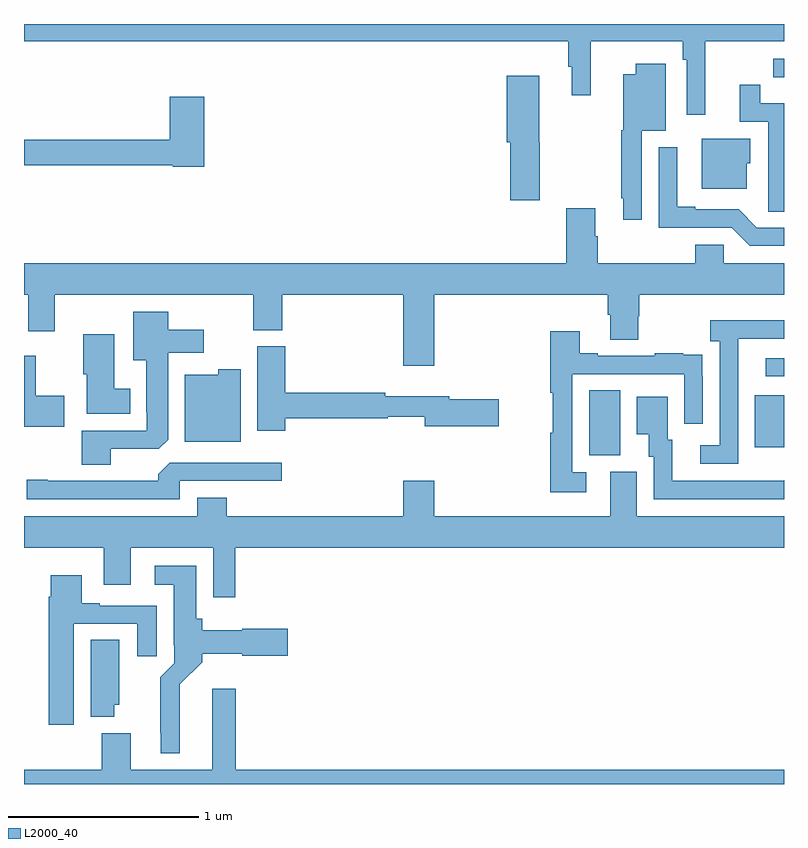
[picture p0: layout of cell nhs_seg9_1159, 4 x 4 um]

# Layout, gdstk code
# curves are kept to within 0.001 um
import gdstk
lib = gdstk.Library(unit=1e-6, precision=1e-09)
def R(c, l, rs):  # rectangles x0, y0, x1, y1
    for r in rs: c.add(gdstk.rectangle(r[:2], r[2:], *l))
def P(c, l, *ps):  # polygons
    for p in ps: c.add(gdstk.Polygon(p, *l))
L2000_40 = (2000, 40)

nhs_seg9_1159 = lib.new_cell('nhs_seg9_1159')
R(nhs_seg9_1159, L2000_40, [(177.974,1206.229,178.138,1206.572), (178.847,1206.273,179,1206.547), (178.905,1206.645,179,1206.741), (178.944,1208.22,179,1208.316)])
P(nhs_seg9_1159, L2000_40, [(178.586,1208.408),(179,1208.408),(179,1208.5),(175,1208.5),(175,1208.408),(177.865,1208.408),(177.865,1208.274),(177.884,1208.274),(177.884,1208.124),(177.984,1208.124),(177.984,1208.408),(178.468,1208.408),(178.468,1208.312),(178.488,1208.312),(178.488,1208.022),(178.586,1208.022)],
  [(178.251,1207.937),(178.378,1207.937),(178.378,1208.29),(178.22,1208.29),(178.22,1208.236),(178.154,1208.236),(178.154,1207.941),(178.143,1207.941),(178.143,1207.582),(178.154,1207.582),(178.154,1207.47),(178.251,1207.47)],
  [(177.714,1207.878),(177.712,1207.878),(177.712,1208.227),(177.542,1208.227),(177.542,1207.878),(177.56,1207.878),(177.56,1207.572),(177.714,1207.572)],
  [(179,1208.082),(178.874,1208.082),(178.874,1208.179),(178.766,1208.179),(178.766,1207.986),(178.916,1207.986),(178.916,1207.624),(178.917,1207.624),(178.917,1207.513),(179,1207.513)],
  [(175.949,1208.116),(175.766,1208.116),(175.766,1207.892),(175,1207.892),(175,1207.756),(175.782,1207.756),(175.782,1207.748),(175.949,1207.748)],
  [(178.804,1207.767),(178.822,1207.767),(178.822,1207.897),(178.568,1207.897),(178.568,1207.634),(178.804,1207.634)],
  [(179,1207.428),(178.857,1207.428),(178.761,1207.524),(178.534,1207.524),(178.534,1207.537),(178.438,1207.537),(178.438,1207.852),(178.341,1207.852),(178.341,1207.428),(178.725,1207.428),(178.821,1207.332),(179,1207.332)],
  [(177.16,1207.076),(178.073,1207.076),(178.073,1206.97),(178.085,1206.97),(178.085,1206.838),(178.233,1206.838),(178.233,1206.963),(178.238,1206.963),(178.238,1207.076),(179,1207.076),(179,1207.24),(178.683,1207.24),(178.683,1207.338),(178.532,1207.338),(178.532,1207.24),(178.019,1207.24),(178.019,1207.382),(178.006,1207.382),(178.006,1207.531),(177.854,1207.531),(177.854,1207.24),(175,1207.24),(175,1207.076),(175.022,1207.076),(175.022,1206.882),(175.162,1206.882),(175.162,1207.076),(176.207,1207.076),(176.207,1206.889),(176.36,1206.889),(176.36,1207.076),(176.996,1207.076),(176.996,1206.702),(177.16,1206.702)],
  [(175.456,1206.264),(175.71,1206.264),(175.759,1206.313),(175.759,1206.77),(175.945,1206.77),(175.945,1206.892),(175.759,1206.892),(175.759,1206.985),(175.574,1206.985),(175.574,1206.731),(175.643,1206.731),(175.643,1206.457),(175.647,1206.457),(175.647,1206.36),(175.304,1206.36),(175.304,1206.181),(175.456,1206.181)],
  [(178.758,1206.643),(178.759,1206.643),(178.759,1206.843),(179,1206.843),(179,1206.94),(178.611,1206.94),(178.611,1206.83),(178.662,1206.83),(178.662,1206.282),(178.56,1206.282),(178.56,1206.186),(178.758,1206.186)],
  [(177.958,1206.141),(177.885,1206.141),(177.885,1206.657),(178.476,1206.657),(178.476,1206.396),(178.572,1206.396),(178.572,1206.65),(178.571,1206.65),(178.571,1206.759),(178.469,1206.759),(178.469,1206.766),(178.321,1206.766),(178.321,1206.753),(178.021,1206.753),(178.021,1206.766),(177.925,1206.766),(177.925,1206.883),(177.769,1206.883),(177.769,1206.56),(177.784,1206.56),(177.784,1206.348),(177.769,1206.348),(177.769,1206.036),(177.958,1206.036)],
  [(175.558,1206.58),(175.474,1206.58),(175.474,1206.868),(175.313,1206.868),(175.313,1206.657),(175.331,1206.657),(175.331,1206.449),(175.558,1206.449)],
  [(176.375,1206.424),(176.914,1206.424),(176.914,1206.432),(177.11,1206.432),(177.11,1206.382),(177.499,1206.382),(177.499,1206.524),(177.238,1206.524),(177.238,1206.541),(176.9,1206.541),(176.9,1206.56),(176.375,1206.56),(176.375,1206.804),(176.228,1206.804),(176.228,1206.36),(176.375,1206.36)],
  [(175.213,1206.543),(175.063,1206.543),(175.063,1206.754),(175,1206.754),(175,1206.38),(175.213,1206.38)],
  [(176.14,1206.682),(176.022,1206.682),(176.022,1206.655),(175.847,1206.655),(175.847,1206.302),(176.14,1206.302)],
  [(179,1206.098),(178.895,1206.096),(178.411,1206.096),(178.411,1206.312),(178.387,1206.312),(178.387,1206.538),(178.226,1206.538),(178.226,1206.341),(178.289,1206.341),(178.289,1206.222),(178.314,1206.222),(178.314,1206),(179,1206)],
  [(175.821,1206.096),(176.356,1206.096),(176.356,1206.192),(175.767,1206.192),(175.706,1206.13),(175.706,1206.096),(175.126,1206.096),(175.126,1206.101),(175.014,1206.101),(175.014,1206),(175.821,1206)],
  [(176.111,1205.744),(179,1205.744),(179,1205.908),(178.225,1205.908),(178.225,1206.144),(178.085,1206.144),(178.085,1205.908),(177.16,1205.908),(177.16,1206.097),(176.996,1206.097),(176.996,1205.908),(176.066,1205.908),(176.066,1206.007),(175.913,1206.007),(175.913,1205.908),(175,1205.908),(175,1205.744),(175.421,1205.744),(175.421,1205.55),(175.561,1205.55),(175.561,1205.744),(175.995,1205.744),(175.995,1205.484),(176.111,1205.484)],
  [(175.819,1205.024),(175.937,1205.142),(175.937,1205.186),(176.148,1205.186),(176.148,1205.174),(176.389,1205.174),(176.389,1205.316),(176.148,1205.316),(176.148,1205.308),(175.937,1205.308),(175.937,1205.37),(175.906,1205.37),(175.906,1205.65),(175.689,1205.65),(175.689,1205.549),(175.787,1205.549),(175.787,1205.23),(175.791,1205.23),(175.791,1205.136),(175.717,1205.062),(175.717,1204.771),(175.721,1204.771),(175.721,1204.661),(175.819,1204.661)],
  [(175.261,1205.343),(175.595,1205.343),(175.595,1205.172),(175.699,1205.172),(175.699,1205.439),(175.399,1205.439),(175.399,1205.452),(175.303,1205.452),(175.303,1205.599),(175.142,1205.599),(175.142,1205.486),(175.13,1205.486),(175.13,1204.812),(175.261,1204.812)],
  [(175.474,1204.917),(175.501,1204.917),(175.501,1205.258),(175.352,1205.258),(175.352,1204.853),(175.474,1204.853)],
  [(179,1204.576),(176.114,1204.576),(176.114,1205.002),(175.991,1205.002),(175.991,1204.576),(175.561,1204.576),(175.561,1204.768),(175.409,1204.768),(175.409,1204.576),(175,1204.576),(175,1204.5),(179,1204.5)])

lib.write_gds('nhs_seg9_1159.gds')
